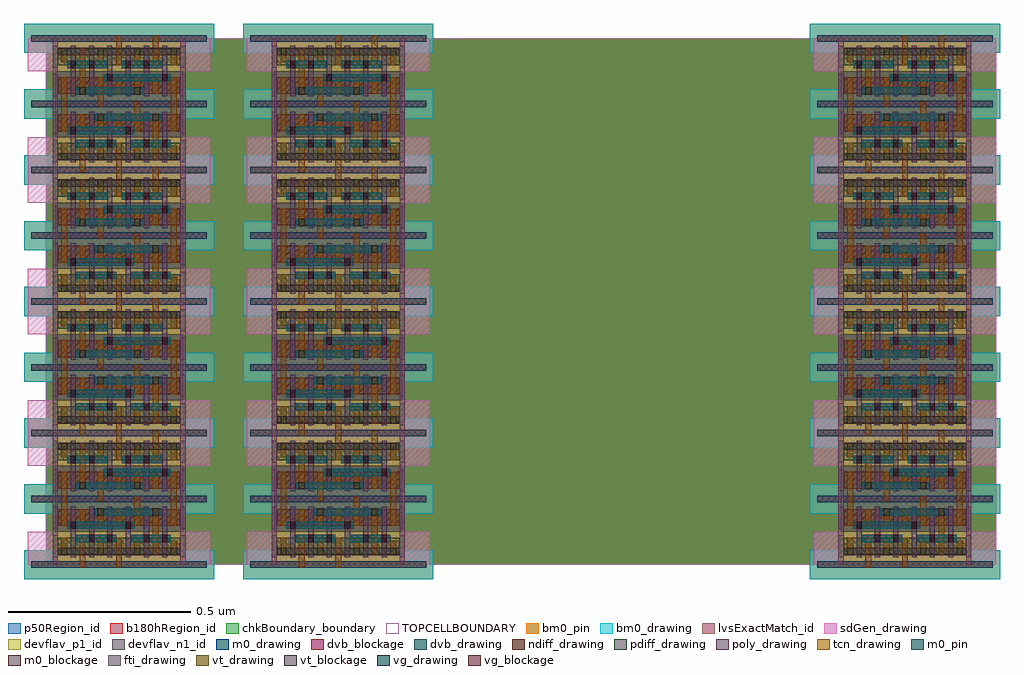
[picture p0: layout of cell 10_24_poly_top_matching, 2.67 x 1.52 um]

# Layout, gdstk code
from math import pi, radians
import gdstk
lib = gdstk.Library(unit=1e-6, precision=5e-10)
def R(c, l, rs):  # rectangles x0, y0, x1, y1
    for r in rs: c.add(gdstk.rectangle(r[:2], r[2:], *l))
def A(c, l, x, y, w, h, nx, ny, dx, dy):  # array of equal rectangles
    R(c, l, [(x+i*dx, y+j*dy, x+i*dx+w, y+j*dy+h) for i in range(nx) for j in range(ny)])
ndiff_drawing = (1, 0)
poly_drawing = (2, 0)
tcn_drawing = (5, 0)
pdiff_drawing = (8, 0)
sdGen_drawing = (11, 0)
vt_drawing = (31, 0)
vt_blockage = (31, 1)
vg_drawing = (32, 0)
vg_blockage = (32, 1)
chkBoundary_boundary = (50, 0)
TOPCELLBOUNDARY = (50, 99)
m0_drawing = (55, 0)
m0_blockage = (55, 1)
m0_pin = (55, 2)
lvsExactMatch_id = (81, 434)
b180hRegion_id = (82, 137)
p50Region_id = (82, 420)
fti_drawing = (184, 0)
devflav_n1_id = (273, 102)
devflav_p1_id = (273, 103)
bm0_drawing = (366, 0)
bm0_pin = (366, 2)
dvb_drawing = (474, 0)
dvb_blockage = (474, 1)

ibmaoi012ab1n04x5 = lib.new_cell('ibmaoi012ab1n04x5')
R(ibmaoi012ab1n04x5, ndiff_drawing, [(0.007,0.028,0.343,0.074)])
A(ibmaoi012ab1n04x5, poly_drawing, 0.043, 0.021, 0.014, 0.138, 6, 1, 0.05, 0)
R(ibmaoi012ab1n04x5, poly_drawing, [(-0.007,0.021,0.007,0.081), (0.343,0.021,0.357,0.081), (-0.007,0.099,0.007,0.159), (0.343,0.099,0.357,0.159)])
A(ibmaoi012ab1n04x5, tcn_drawing, 0.017, 0.114, 0.016, 0.04, 3, 1, 0.1, 0)
R(ibmaoi012ab1n04x5, tcn_drawing, [(0.017,-0.007,0.033,0.074), (0.117,-0.007,0.133,0.074), (0.317,-0.007,0.333,0.074), (0.067,0.026,0.083,0.152), (0.217,0.026,0.233,0.074), (0.167,0.028,0.183,0.068), (0.267,0.028,0.283,0.068), (0.167,0.106,0.183,0.187), (0.267,0.106,0.283,0.187), (0.317,0.106,0.333,0.154)])
R(ibmaoi012ab1n04x5, pdiff_drawing, [(0.007,0.106,0.343,0.152)])
R(ibmaoi012ab1n04x5, sdGen_drawing, [(-0.075,0.09,0.425,0.18)])
A(ibmaoi012ab1n04x5, vt_drawing, 0.017, 0.134, 0.016, 0.02, 4, 1, 0.1, 0)
R(ibmaoi012ab1n04x5, vt_drawing, [(0.067,0.026,0.083,0.046), (0.217,0.026,0.233,0.046)])
A(ibmaoi012ab1n04x5, vt_blockage, 0.017, 0.134, 0.016, 0.02, 4, 1, 0.1, 0)
R(ibmaoi012ab1n04x5, vt_blockage, [(0.067,0.026,0.083,0.046), (0.217,0.026,0.233,0.046)])
R(ibmaoi012ab1n04x5, vg_drawing, [(0.143,0.062,0.157,0.082), (0.293,0.062,0.307,0.082), (0.043,0.098,0.057,0.118), (0.093,0.098,0.107,0.118), (0.193,0.098,0.207,0.118), (0.243,0.098,0.257,0.118)])
R(ibmaoi012ab1n04x5, vg_blockage, [(0.143,0.062,0.157,0.082), (0.293,0.062,0.307,0.082), (0.043,0.098,0.057,0.118), (0.093,0.098,0.107,0.118), (0.193,0.098,0.207,0.118), (0.243,0.098,0.257,0.118)])
R(ibmaoi012ab1n04x5, chkBoundary_boundary, [(0,0,0.35,0.18)])
R(ibmaoi012ab1n04x5, m0_drawing, [(0.058,0.026,0.242,0.046), (0.133,0.062,0.317,0.082), (0.033,0.098,0.142,0.118), (0.183,0.098,0.292,0.118), (0.008,0.134,0.342,0.154)])
R(ibmaoi012ab1n04x5, m0_blockage, [(0.008,0.134,0.342,0.154)])
R(ibmaoi012ab1n04x5, m0_pin, [(0.058,0.026,0.242,0.046), (0.133,0.062,0.317,0.082), (0.033,0.098,0.142,0.118), (0.183,0.098,0.292,0.118)])
R(ibmaoi012ab1n04x5, lvsExactMatch_id, [(0,0,0.35,0.18)])
R(ibmaoi012ab1n04x5, b180hRegion_id, [(-0.025,0,0.375,0.18)])
R(ibmaoi012ab1n04x5, p50Region_id, [(-0.025,0,0.375,0.18)])
R(ibmaoi012ab1n04x5, fti_drawing, [(-0.007,0,0.007,0.18), (0.343,0,0.357,0.18)])
R(ibmaoi012ab1n04x5, devflav_n1_id, [(0,0,0.35,0.09)])
R(ibmaoi012ab1n04x5, devflav_p1_id, [(0,0.09,0.35,0.18)])
R(ibmaoi012ab1n04x5, bm0_drawing, [(-0.085,-0.04,0.435,0.04), (-0.085,0.14,0.435,0.22)])
R(ibmaoi012ab1n04x5, bm0_pin, [(-0.085,-0.04,0.435,0.04), (-0.085,0.14,0.435,0.22)])
R(ibmaoi012ab1n04x5, dvb_drawing, [(-0.0655,-0.009,0.4155,0.009), (-0.0655,0.171,0.4155,0.189)])
R(ibmaoi012ab1n04x5, dvb_blockage, [(-0.0655,-0.009,0.4155,0.009), (-0.0655,0.171,0.4155,0.189)])
ibmaoi012ab1n04x5.add(gdstk.Label('o1', (0.075,0.089), layer=5, texttype=0))
ibmaoi012ab1n04x5.add(gdstk.Label('o1', (0.225,0.05), layer=5, texttype=0))
ibmaoi012ab1n04x5.add(gdstk.Label('n2a', (0.175,0.048), layer=5, texttype=0))
ibmaoi012ab1n04x5.add(gdstk.Label('n1', (0.125,0.134), layer=5, texttype=0))
ibmaoi012ab1n04x5.add(gdstk.Label('n1', (0.225,0.134), layer=5, texttype=0))
ibmaoi012ab1n04x5.add(gdstk.Label('vssx', (0.025,0.0335), layer=5, texttype=0))
ibmaoi012ab1n04x5.add(gdstk.Label('n1', (0.025,0.134), layer=5, texttype=0))
ibmaoi012ab1n04x5.add(gdstk.Label('n1', (0.325,0.13), layer=5, texttype=0))
ibmaoi012ab1n04x5.add(gdstk.Label('vssx', (0.325,0.0335), layer=5, texttype=0))
ibmaoi012ab1n04x5.add(gdstk.Label('vcc', (0.275,0.1465), layer=5, texttype=0))
ibmaoi012ab1n04x5.add(gdstk.Label('n2b', (0.275,0.048), layer=5, texttype=0))
ibmaoi012ab1n04x5.add(gdstk.Label('vcc', (0.175,0.1465), layer=5, texttype=0))
ibmaoi012ab1n04x5.add(gdstk.Label('vssx', (0.125,0.0335), layer=5, texttype=0))
ibmaoi012ab1n04x5.add(gdstk.Label('a', (0.1,0.09), layer=2, texttype=0))
ibmaoi012ab1n04x5.add(gdstk.Label('c', (0.15,0.09), layer=2, texttype=0))
ibmaoi012ab1n04x5.add(gdstk.Label('b', (0.2,0.09), layer=2, texttype=0))
ibmaoi012ab1n04x5.add(gdstk.Label('b', (0.25,0.09), layer=2, texttype=0))
ibmaoi012ab1n04x5.add(gdstk.Label('c', (0.3,0.09), layer=2, texttype=0))
ibmaoi012ab1n04x5.add(gdstk.Label('a', (0.05,0.09), layer=2, texttype=0))
ibmaoi012ab1n04x5.add(gdstk.Label('vssx', (0.175,0), layer=366, texttype=0))
ibmaoi012ab1n04x5.add(gdstk.Label('vcc', (0.175,0.18), layer=366, texttype=0))
ibmaoi012ab1n04x5.add(gdstk.Label('vcc', (0.175,0.18), layer=366, texttype=0))
ibmaoi012ab1n04x5.add(gdstk.Label('vssx', (0.175,0), layer=366, texttype=0))
ibmaoi012ab1n04x5.add(gdstk.Label('o1', (0.15,0.036), layer=55, texttype=2))
ibmaoi012ab1n04x5.add(gdstk.Label('c', (0.225,0.072), layer=55, texttype=2))
ibmaoi012ab1n04x5.add(gdstk.Label('a', (0.0875,0.108), layer=55, texttype=2))
ibmaoi012ab1n04x5.add(gdstk.Label('b', (0.2375,0.108), layer=55, texttype=2))
ibmaoi012ab1n04x5.add(gdstk.Label('o1', (0.15,0.036), layer=55, texttype=0))
ibmaoi012ab1n04x5.add(gdstk.Label('c', (0.225,0.072), layer=55, texttype=0))
ibmaoi012ab1n04x5.add(gdstk.Label('a', (0.0875,0.108), layer=55, texttype=0))
ibmaoi012ab1n04x5.add(gdstk.Label('b', (0.2375,0.108), layer=55, texttype=0))
ibmaoi012ab1n04x5.add(gdstk.Label('o1', (0.15,0.036), layer=55, texttype=0))
ibmaoi012ab1n04x5.add(gdstk.Label('a', (0.0875,0.108), layer=55, texttype=0))
ibmaoi012ab1n04x5.add(gdstk.Label('c', (0.225,0.072), layer=55, texttype=0))
ibmaoi012ab1n04x5.add(gdstk.Label('b', (0.2375,0.108), layer=55, texttype=0))
ibmaoi012ab1n04x5.add(gdstk.Label('n1', (0.175,0.144), layer=55, texttype=0))
ibmaoi012ab1n04x5.add(gdstk.Label('vssx', (0.175,0), layer=366, texttype=2))
ibmaoi012ab1n04x5.add(gdstk.Label('vcc', (0.175,0.18), layer=366, texttype=2))

c_10_24_poly_top_matching = lib.new_cell('10_24_poly_top_matching')
R(c_10_24_poly_top_matching, chkBoundary_boundary, [(0,0,2.6,1.44)])
R(c_10_24_poly_top_matching, TOPCELLBOUNDARY, [(0,0,2.6,1.44)])
R(c_10_24_poly_top_matching, b180hRegion_id, [(0,0,2.6,1.44)])
R(c_10_24_poly_top_matching, p50Region_id, [(0,0,2.6,1.44)])
c_10_24_poly_top_matching.add(gdstk.Reference(ibmaoi012ab1n04x5, (2.175,1.26)))
c_10_24_poly_top_matching.add(gdstk.Reference(ibmaoi012ab1n04x5, (2.175,0.54)))
c_10_24_poly_top_matching.add(gdstk.Reference(ibmaoi012ab1n04x5, (2.175,0.18)))
c_10_24_poly_top_matching.add(gdstk.Reference(ibmaoi012ab1n04x5, (2.525,0.18), rotation=pi))
c_10_24_poly_top_matching.add(gdstk.Reference(ibmaoi012ab1n04x5, (2.525,0.54), rotation=pi))
c_10_24_poly_top_matching.add(gdstk.Reference(ibmaoi012ab1n04x5, (2.175,0.9)))
c_10_24_poly_top_matching.add(gdstk.Reference(ibmaoi012ab1n04x5, (2.525,0.9), rotation=pi))
c_10_24_poly_top_matching.add(gdstk.Reference(ibmaoi012ab1n04x5, (2.525,1.26), rotation=pi))
c_10_24_poly_top_matching.add(gdstk.Reference(ibmaoi012ab1n04x5, (0.625,1.26)))
c_10_24_poly_top_matching.add(gdstk.Reference(ibmaoi012ab1n04x5, (0.625,0.54)))
c_10_24_poly_top_matching.add(gdstk.Reference(ibmaoi012ab1n04x5, (0.625,0.18)))
c_10_24_poly_top_matching.add(gdstk.Reference(ibmaoi012ab1n04x5, (0.975,0.18), rotation=pi))
c_10_24_poly_top_matching.add(gdstk.Reference(ibmaoi012ab1n04x5, (0.975,0.54), rotation=pi))
c_10_24_poly_top_matching.add(gdstk.Reference(ibmaoi012ab1n04x5, (0.625,0.9)))
c_10_24_poly_top_matching.add(gdstk.Reference(ibmaoi012ab1n04x5, (0.975,0.9), rotation=pi))
c_10_24_poly_top_matching.add(gdstk.Reference(ibmaoi012ab1n04x5, (0.975,1.26), rotation=pi))
c_10_24_poly_top_matching.add(gdstk.Reference(ibmaoi012ab1n04x5, (0.025,0.54)))
c_10_24_poly_top_matching.add(gdstk.Reference(ibmaoi012ab1n04x5, (0.025,0.18)))
c_10_24_poly_top_matching.add(gdstk.Reference(ibmaoi012ab1n04x5, (0.375,0.18), rotation=pi))
c_10_24_poly_top_matching.add(gdstk.Reference(ibmaoi012ab1n04x5, (0.375,0.54), rotation=pi))
c_10_24_poly_top_matching.add(gdstk.Reference(ibmaoi012ab1n04x5, (0.025,0.9)))
c_10_24_poly_top_matching.add(gdstk.Reference(ibmaoi012ab1n04x5, (0.375,0.9), rotation=pi))
c_10_24_poly_top_matching.add(gdstk.Reference(ibmaoi012ab1n04x5, (0.375,1.26), rotation=pi))
c_10_24_poly_top_matching.add(gdstk.Reference(ibmaoi012ab1n04x5, (0.025,1.26)))

lib.write_gds('10_24_poly_top_matching.gds')
